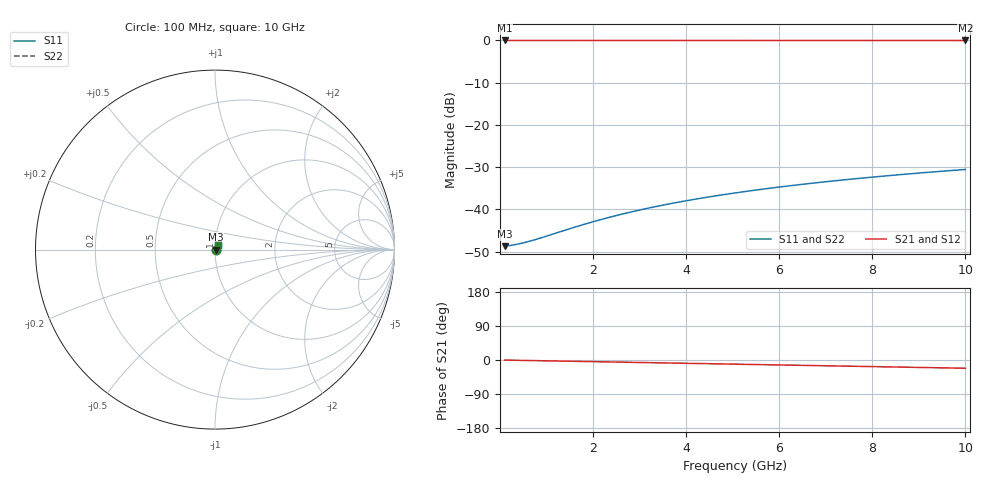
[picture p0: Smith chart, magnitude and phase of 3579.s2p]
# Hz S RI R 50.00
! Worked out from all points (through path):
!   100 points, 100 MHz to 10 GHz, reference 50 ohm
!   highest |S21| = -0.03 dB at 100 MHz (marker M1); lowest = 0.0 dB at 10 GHz (marker M2)
!   group delay of S21, straight-line fit = 6.05 ps
!   lowest |S11| = -48.7 dB at 100 MHz (marker M3), VSWR 1.01, Z = 50.4 + j0.0291 ohm
!   |S11| at or under -10 dB: start of sweep to end of sweep
!   |S22| runs from -48.7 to -30.5 dB; largest |S21 - S12| = 0
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1e8  0.00367 0.000289  0.9963 -0.00378  0.9963 -0.00378  0.00367 0.000289
3e8  0.00371 0.000866  0.9962 -0.0113  0.9962 -0.0113  0.00371 0.000866
4e8  0.00373 0.00115  0.9962 -0.0151  0.9962 -0.0151  0.00373 0.00115
6e8  0.00378 0.00173  0.996 -0.0227  0.996 -0.0227  0.00378 0.00173
9e8  0.00385 0.00259  0.9956 -0.034  0.9956 -0.034  0.00385 0.00259
1.5e9  0.00404 0.00432  0.9945 -0.0567  0.9945 -0.0567  0.00404 0.00432
1.8e9  0.00417 0.00517  0.9938 -0.068  0.9938 -0.068  0.00417 0.00517
2.2e9  0.00436 0.00631  0.9926 -0.0831  0.9926 -0.0831  0.00436 0.00631
2.6e9  0.00458 0.00744  0.9912 -0.0982  0.9912 -0.0982  0.00458 0.00744
3e9  0.00484 0.00856  0.9896 -0.1132  0.9896 -0.1132  0.00484 0.00856
3.4e9  0.00514 0.00968  0.9877 -0.1282  0.9877 -0.1282  0.00514 0.00968
3.8e9  0.00546 0.0108  0.9856 -0.1432  0.9856 -0.1432  0.00546 0.0108
4.2e9  0.00582 0.0119  0.9833 -0.1582  0.9833 -0.1582  0.00582 0.0119
4.6e9  0.00622 0.013  0.9807 -0.1731  0.9807 -0.1731  0.00622 0.013
5.1e9  0.00675 0.0143  0.9772 -0.1917  0.9772 -0.1917  0.00675 0.0143
5.5e9  0.00722 0.0153  0.9741 -0.2065  0.9741 -0.2065  0.00722 0.0153
5.9e9  0.00772 0.0164  0.9708 -0.2213  0.9708 -0.2213  0.00772 0.0164
6.7e9  0.00881 0.0184  0.9636 -0.2507  0.9636 -0.2507  0.00881 0.0184
7.5e9  0.01 0.0203  0.9554 -0.2799  0.9554 -0.2799  0.01 0.0203
8.4e9  0.0115 0.0224  0.9452 -0.3124  0.9452 -0.3124  0.0115 0.0224
9.2e9  0.013 0.0242  0.9351 -0.341  0.9351 -0.341  0.013 0.0242
1e10  0.0146 0.0259  0.9242 -0.3692  0.9242 -0.3692  0.0146 0.0259
